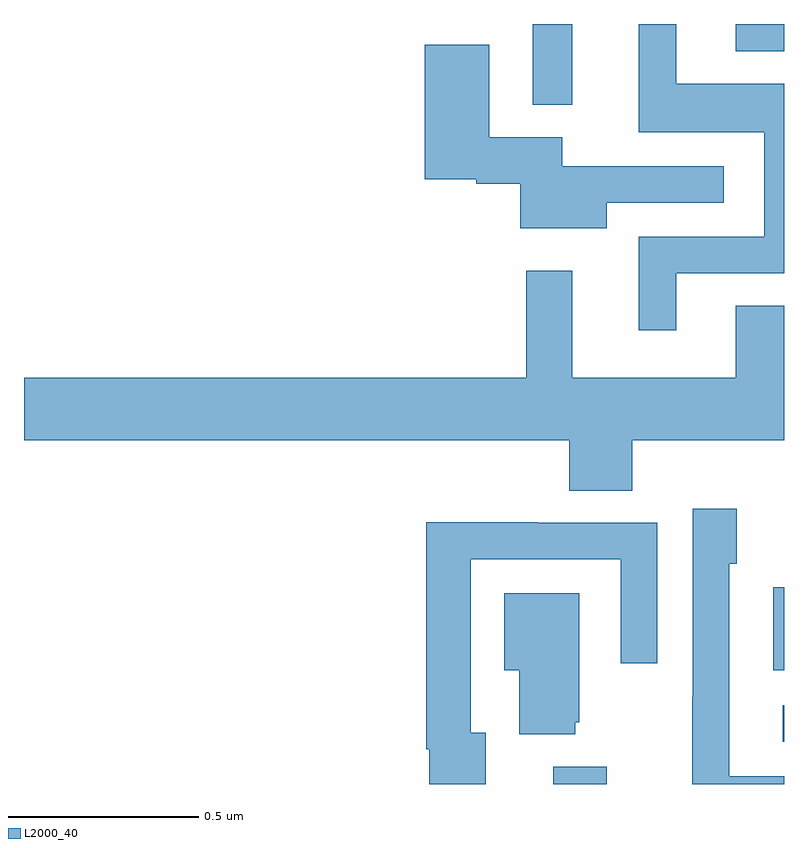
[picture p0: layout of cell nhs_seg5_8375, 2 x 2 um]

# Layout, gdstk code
import gdstk
lib = gdstk.Library(unit=1e-6, precision=1e-09)
def R(c, l, rs):  # rectangles x0, y0, x1, y1
    for r in rs: c.add(gdstk.rectangle(r[:2], r[2:], *l))
def P(c, l, *ps):  # polygons
    for p in ps: c.add(gdstk.Polygon(p, *l))
L2000_40 = (2000, 40)

nhs_seg5_8375 = lib.new_cell('nhs_seg5_8375')
R(nhs_seg5_8375, L2000_40, [(221.393,911.799,221.533,911.845), (221.997,911.91,222,912.006), (221.972,912.098,222,912.317), (221.339,913.587,221.443,913.799), (221.873,913.727,222,913.799)])
P(nhs_seg5_8375, L2000_40, [(221.716,913.143),(222,913.143),(222,913.642),(221.716,913.642),(221.716,913.799),(221.618,913.799),(221.618,913.514),(221.948,913.514),(221.948,913.239),(221.618,913.239),(221.618,912.993),(221.716,912.993)],
  [(221.533,913.329),(221.842,913.329),(221.842,913.425),(221.416,913.425),(221.416,913.501),(221.224,913.501),(221.224,913.744),(221.054,913.744),(221.054,913.391),(221.19,913.391),(221.19,913.379),(221.306,913.379),(221.306,913.262),(221.533,913.262)],
  [(221.6,912.704),(222,912.704),(222,913.058),(221.873,913.058),(221.873,912.868),(221.443,912.868),(221.443,913.15),(221.322,913.15),(221.322,912.868),(220,912.868),(220,912.704),(221.435,912.704),(221.435,912.571),(221.6,912.571)],
  [(222,911.82),(221.856,911.82),(221.856,912.378),(221.875,912.378),(221.875,912.523),(221.76,912.523),(221.76,912.029),(221.758,912.029),(221.758,911.799),(222,911.799)],
  [(221.215,911.934),(221.175,911.934),(221.175,912.39),(221.571,912.39),(221.571,912.117),(221.667,912.117),(221.667,912.486),(221.351,912.486),(221.351,912.488),(221.059,912.488),(221.059,911.89),(221.067,911.89),(221.067,911.799),(221.215,911.799)],
  [(221.45,911.961),(221.461,911.961),(221.461,912.301),(221.264,912.301),(221.264,912.098),(221.303,912.098),(221.303,911.93),(221.45,911.93)])

lib.write_gds('nhs_seg5_8375.gds')
